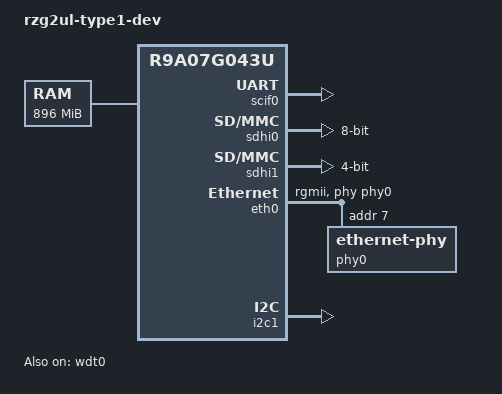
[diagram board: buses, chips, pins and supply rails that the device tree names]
// SPDX-License-Identifier: GPL-2.0
/*
 * Device Tree Source for the GR-Peach board
 *
 * Copyright (C) 2017 Jacopo Mondi <jacopo+renesas@jmondi.org>
 * Copyright (C) 2016 Renesas Electronics
 */

/dts-v1/;
#include <dt-bindings/gpio/gpio.h>
#include "r9a07g043u11.dtsi"
#include "r9a07g043u11-u-boot.dtsi"
#include <dt-bindings/pinctrl/rzg2l-pinctrl.h>

/ {
	model = "rzg2ul-type1-dev";
	compatible = "renesas,r9a07g043u", "renesas,rzg2ul";

	aliases {
		serial0 = &scif0;
	};

	chosen {
		stdout-path = "serial0:115200n8";
	};

	memory@48000000 {
		device_type = "memory";
		/* first 128MB is reserved for secure area. */
		reg = <0 0x48000000 0 0x38000000>;
	};
};

&pinctrl {
	eth0_pins: eth0 {
		pinmux = <RZG2L_PINMUX(1, 0, 1)>,
				<RZG2L_PINMUX(1, 1, 1)>,
				<RZG2L_PINMUX(1, 2, 1)>,
				<RZG2L_PINMUX(1, 3, 1)>,
				<RZG2L_PINMUX(1, 4, 1)>,
				<RZG2L_PINMUX(2, 0, 1)>,
				<RZG2L_PINMUX(3, 0, 1)>,
				<RZG2L_PINMUX(3, 1, 1)>,
				<RZG2L_PINMUX(3, 2, 1)>,
				<RZG2L_PINMUX(3, 3, 1)>,
				<RZG2L_PINMUX(4, 0, 1)>,
				<RZG2L_PINMUX(4, 1, 1)>,
				<RZG2L_PINMUX(4, 3, 1)>,
				<RZG2L_PINMUX(4, 4, 1)>,
				<RZG2L_PINMUX(4, 5, 1)>;
	};
};

&xinclk {
        clock-frequency = <24000000>;
};

&scif0 {
	status = "okay";
	clock = <100000000>;
};

&sdhi0 {
	/* pinctrl placeholder
	 * If this channel is used for interfacing with a SD card, a power enable
	 * pin (SD0_PWR_EN) must be defined.
	 * The SD0_PWR_EN pin is associated with P18_4.
	 * A HIGH signal on SD0_PWR_EN will enable supply voltage for SD card.
	*/
	bus-width = <8>;
	status = "okay";
};

&sdhi1 {
	/* pinctrl placeholder
	 * A power enable pin (SD1_PWR_EN) must be defined to interface with a
	 * SD card.
	 * The SD1_PWR_EN pin is associated with P18_5.
	 * A HIGH signal on SD1_PWR_EN will enable supply voltage for SD card.
	*/
	bus-width = <4>;
	status = "okay";
};

&eth0 {
	pinctrl-names = "default";
	pinctrl-0 = <&eth0_pins>;
	phy-handle = <&phy0>;
	phy-mode = "rgmii";
	status = "okay";

	phy0: ethernet-phy@7 {
		reg = <7>;
	};
};

&i2c1 {
	pinctrl-names = "default";
	status = "okay";
};

&wdt0 {
	status = "okay";
	timeout-sec = <60>;
};
